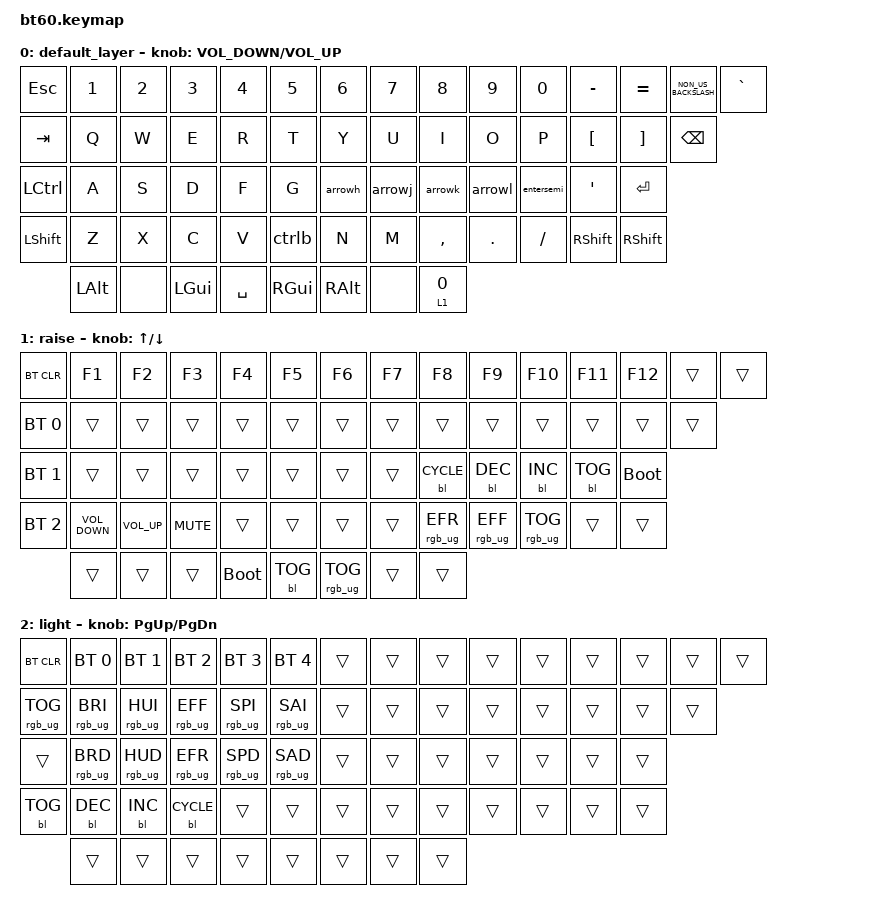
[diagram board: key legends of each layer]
#include <behaviors.dtsi>
#include <dt-bindings/zmk/backlight.h>
#include <dt-bindings/zmk/bt.h>
#include <dt-bindings/zmk/keys.h>
#include <dt-bindings/zmk/rgb.h>

/ {
    behaviors {
        arrowh: arrowh {
            compatible = "zmk,behavior-mod-morph";
            label = "ARROWH";
            bindings =
                <&kp H>,
                <&kp LEFT>;

            #binding-cells = <0>;
            mods = <(MOD_LCTL)>;
        };
        arrowj: arrowj {
            compatible = "zmk,behavior-mod-morph";
            label = "ARROWJ";
            bindings =
                <&kp J>,
                <&kp DOWN>;

            #binding-cells = <0>;
            mods = <(MOD_LCTL)>;
        };
        arrowk: arrowk {
            compatible = "zmk,behavior-mod-morph";
            label = "ARROWK";
            bindings =
                <&kp K>,
                <&kp UP>;

            #binding-cells = <0>;
            mods = <(MOD_LCTL)>;
        };
        arrowl: arrowl {
            compatible = "zmk,behavior-mod-morph";
            label = "ARROWL";
            bindings =
                <&kp L>,
                <&kp RIGHT>;

            #binding-cells = <0>;
            mods = <(MOD_LCTL)>;
        };
        ctrlb: ctrlb {
            compatible = "zmk,behavior-mod-morph";
            label = "CTRLB";
            bindings =
                <&kp B>,
                <&kp BACKSPACE>;

            #binding-cells = <0>;
            mods = <(MOD_LCTL)>;
        };
        entersemi: entersemi {
            compatible = "zmk,behavior-mod-morph";
            label = "ENTERSEMI";
            bindings =
                <&kp SEMICOLON>,
                <&kp ENTER>;

            #binding-cells = <0>;
            mods = <(MOD_LCTL)>;
        };
    };

    keymap {
        compatible = "zmk,keymap";

        default_layer {
            // ------------------------------------------------------------------------------------------
            // | ESC |  1  |  2  |  3  |  4  |  5  |  6  |  7  |  8  |  9  |  0  |  -  |  =  | | | ENC1 |
            // | TAB  |  Q  |  W  |  E  |  R  |  T  |  Y  |  U  |  I  |  O  |  P  |  [  |  ]  |   BKSP |
            // | CAPS  |  A  |  S  |  D  |  F  |  G  |  H  |  J  |  K  |  L  |  ;  |  '  |    ENTER    |
            // |  SHIFT |  Z  |  X  |  C  |  V  |  B  |  N  |  M  |  ,  |  .  | /   |   SHFT   | DEL |
            // |  CTL  |  WIN  |  ALT  |            SPACE              | ALT  | LEFT  |  DOWN |  RIGHT |
            // ------------------------------------------------------------------------------------------

            bindings = <
  &kp ESC        &kp N1  &kp N2        &kp N3     &kp N4    &kp N5    &kp N6   &kp N7     &kp N8   &kp N9      &kp N0  &kp MINUS        &kp EQUAL  &kp NON_US_BACKSLASH  &kp GRAVE
  &kp TAB         &kp Q   &kp W         &kp E      &kp R     &kp T     &kp Y    &kp U      &kp I    &kp O       &kp P   &kp LBKT         &kp RBKT         &kp BACKSPACE
&kp LCTRL         &kp A   &kp S         &kp D      &kp F     &kp G   &arrowh  &arrowj    &arrowk  &arrowl  &entersemi    &kp SQT          &kp RET
&kp LSHFT         &kp Z   &kp X         &kp C      &kp V    &ctrlb     &kp N    &kp M  &kp COMMA  &kp DOT    &kp FSLH  &kp RSHFT  &kp RIGHT_SHIFT
           &kp LEFT_ALT   &none  &kp LEFT_GUI  &kp SPACE  &kp RGUI  &kp RALT    &none    &lt 1 0
            >;

            sensor-bindings = <&inc_dec_kp C_VOLUME_DOWN C_VOLUME_UP>;
        };

        raise {
            bindings = <
  &bt BT_CLR             &kp F1           &kp F2      &kp F3       &kp F4      &kp F5           &kp F6  &kp F7           &kp F8           &kp F9          &kp F10     &kp F11      &kp F12  &trans  &trans
&bt BT_SEL 0             &trans           &trans      &trans       &trans      &trans           &trans  &trans           &trans           &trans           &trans      &trans       &trans  &trans
&bt BT_SEL 1             &trans           &trans      &trans       &trans      &trans           &trans  &trans     &bl BL_CYCLE       &bl BL_DEC       &bl BL_INC  &bl BL_TOG  &bootloader
&bt BT_SEL 2  &kp C_VOLUME_DOWN  &kp C_VOLUME_UP  &kp C_MUTE       &trans      &trans           &trans  &trans  &rgb_ug RGB_EFR  &rgb_ug RGB_EFF  &rgb_ug RGB_TOG      &trans       &trans
                         &trans           &trans      &trans  &bootloader  &bl BL_TOG  &rgb_ug RGB_TOG  &trans           &trans
            >;

            sensor-bindings = <&inc_dec_kp UP_ARROW DOWN_ARROW>;
        };

        light {
            bindings = <
     &bt BT_CLR     &bt BT_SEL 0     &bt BT_SEL 1     &bt BT_SEL 2     &bt BT_SEL 3     &bt BT_SEL 4  &trans  &trans  &trans  &trans  &trans  &trans  &trans  &trans  &trans
&rgb_ug RGB_TOG  &rgb_ug RGB_BRI  &rgb_ug RGB_HUI  &rgb_ug RGB_EFF  &rgb_ug RGB_SPI  &rgb_ug RGB_SAI  &trans  &trans  &trans  &trans  &trans  &trans  &trans  &trans
         &trans  &rgb_ug RGB_BRD  &rgb_ug RGB_HUD  &rgb_ug RGB_EFR  &rgb_ug RGB_SPD  &rgb_ug RGB_SAD  &trans  &trans  &trans  &trans  &trans  &trans  &trans
     &bl BL_TOG       &bl BL_DEC       &bl BL_INC     &bl BL_CYCLE           &trans           &trans  &trans  &trans  &trans  &trans  &trans  &trans  &trans
                          &trans           &trans           &trans           &trans           &trans  &trans  &trans  &trans
            >;

            sensor-bindings = <&inc_dec_kp PAGE_UP PAGE_DOWN>;
        };
    };
};
